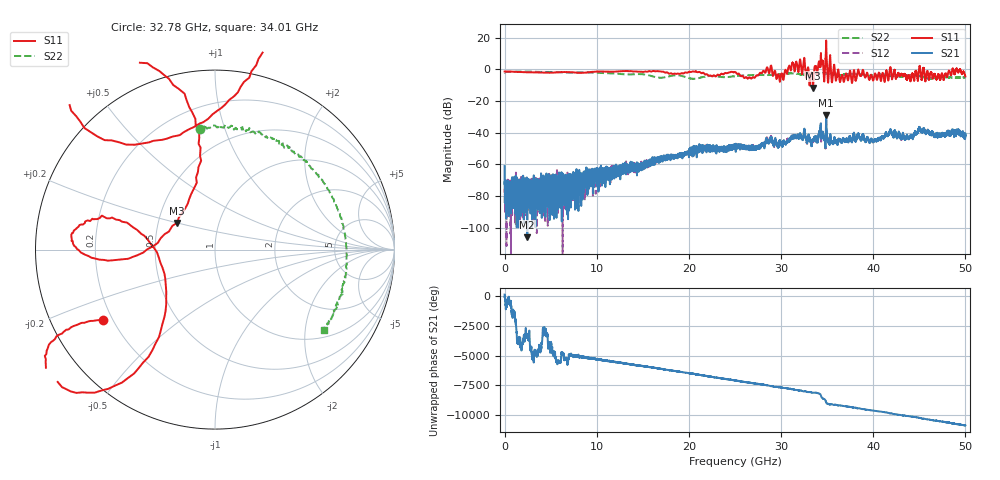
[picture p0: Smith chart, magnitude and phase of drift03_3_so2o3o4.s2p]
!Created with skrf (http://scikit-rf.org).
# Hz S RI R 50.0
!freq ReS11 ImS11 ReS21 ImS21 ReS12 ImS12 ReS22 ImS22
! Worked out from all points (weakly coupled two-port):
!   10001 points, 300 kHz to 50 GHz, reference 50 ohm
!   highest |S21| = -28.75 dB at 34.89 GHz (marker M1); lowest = -106.1 dB at 2.46 GHz (marker M2)
!   lowest |S11| = -11.7 dB at 33.47 GHz (marker M3), VSWR 1.70, Z = 31.3 + j9.97 ohm
!   |S11| at or under -10 dB: 33.08272 GHz to 33.09993 GHz (17.21 MHz wide, 0.052 % of centre); 33.44195 GHz to 33.49017 GHz (48.22 MHz wide, 0.144 % of centre)
!   |S22| runs from -5.9 to -1.3 dB; largest |S21 - S12| = 0.0075
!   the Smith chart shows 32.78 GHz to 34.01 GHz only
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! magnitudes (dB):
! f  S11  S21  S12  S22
! 300 kHz  -1.3  -61.1  -84.4  -2.1
! 290.3 MHz  -1.3  -72.2  -84.6  -1.4
! 2.46 GHz  -1.8  -106.1  -76.9  -1.4
! 8.335 GHz  -2.2  -74.9  -69.0  -1.9
! 16.67 GHz  -1.2  -57.1  -56.8  -5.2
! 25 GHz  -1.5  -49.2  -48.1  -4.3
! 26.59 GHz  -5.0  -49.7  -48.9  -3.7
! 28.73 GHz  -2.3  -45.7  -45.1  -3.5
! 30.06 GHz  -2.5  -48.1  -47.4  -2.9
! 31.88 GHz  -1.8  -42.3  -42.2  -2.9
! 33.34 GHz  -2.2  -47.8  -47.0  -2.9
! 33.47 GHz  -11.7  -45.1  -45.3  -2.8
! 34.3 GHz  7.2  -34.7  -35.3  -2.3
! 34.89 GHz  17.8  -28.8  -30.6  -2.4
! 36.6 GHz  -3.6  -46.2  -46.2  -3.6
! 40.18 GHz  -2.7  -44.8  -44.0  -3.7
! 41.67 GHz  -6.1  -41.3  -40.9  -3.7
! 43.67 GHz  -6.4  -41.2  -41.9  -4.0
! 45.2 GHz  -5.1  -38.6  -39.2  -4.7
! 47.07 GHz  -3.1  -41.5  -41.8  -5.1
! 49.22 GHz  -2.0  -39.2  -39.3  -5.1
! 50 GHz  -4.5  -42.2  -41.4  -5.0
